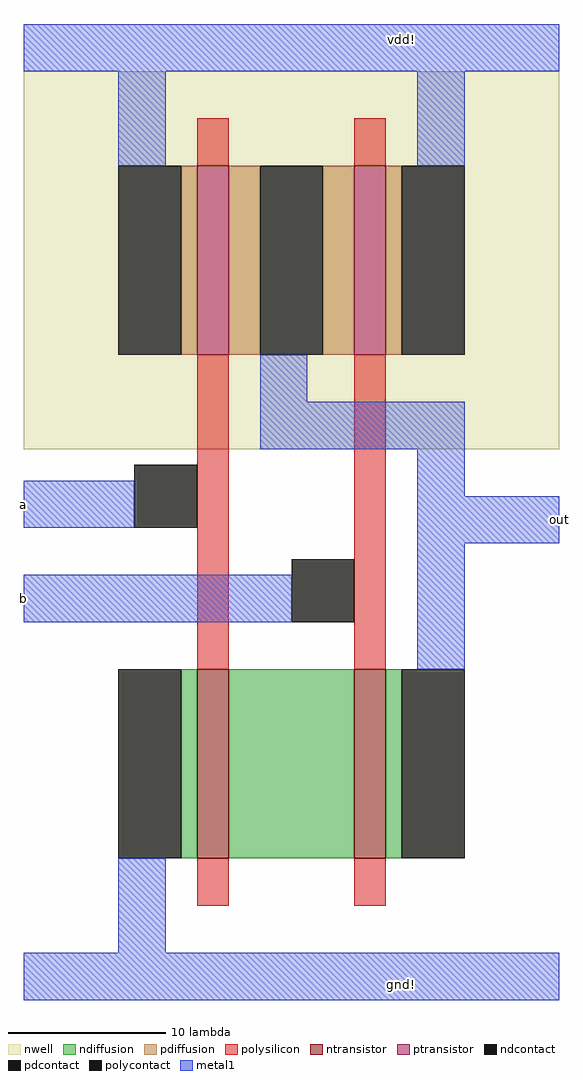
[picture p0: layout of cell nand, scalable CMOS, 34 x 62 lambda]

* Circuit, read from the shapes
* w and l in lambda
.subckt nand a b gnd! out vdd!
M1 n1 a gnd! VSUBS nfet w=12 l=2
M2 out b n1 VSUBS nfet w=12 l=2
M3 out a vdd! n2 pfet w=12 l=2
M4 vdd! b out n2 pfet w=12 l=2
.ends

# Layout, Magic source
magic
tech scmos
<< nwell >>
rect 0 0 34 24
<< ntransistor >>
rect 11 -26 13 -14
rect 21 -26 23 -14
<< ptransistor >>
rect 11 6 13 18
rect 21 6 23 18
<< ndiffusion >>
rect 10 -26 11 -14
rect 13 -26 21 -14
rect 23 -26 24 -14
<< pdiffusion >>
rect 10 6 11 18
rect 13 6 15 18
rect 19 6 21 18
rect 23 6 24 18
<< ndcontact >>
rect 6 -26 10 -14
rect 24 -26 28 -14
<< pdcontact >>
rect 6 6 10 18
rect 15 6 19 18
rect 24 6 28 18
<< polysilicon >>
rect 11 18 13 21
rect 21 18 23 21
rect 11 -14 13 6
rect 21 -14 23 6
rect 11 -29 13 -26
rect 21 -29 23 -26
<< polycontact >>
rect 7 -5 11 -1
rect 17 -11 21 -7
<< metal1 >>
rect 0 24 34 27
rect 6 18 9 24
rect 25 18 28 24
rect 15 3 18 6
rect 15 0 28 3
rect 0 -5 7 -2
rect 25 -3 28 0
rect 25 -6 34 -3
rect 0 -11 17 -8
rect 25 -14 28 -6
rect 6 -32 9 -26
rect 0 -35 34 -32
<< labels >>
rlabel metal1 24 26 24 26 5 vdd!
rlabel metal1 24 -34 24 -34 1 gnd!
rlabel metal1 0 -11 0 -8 3 b
rlabel metal1 34 -6 34 -3 7 out
rlabel metal1 0 -5 0 -2 3 a
<< end >>
